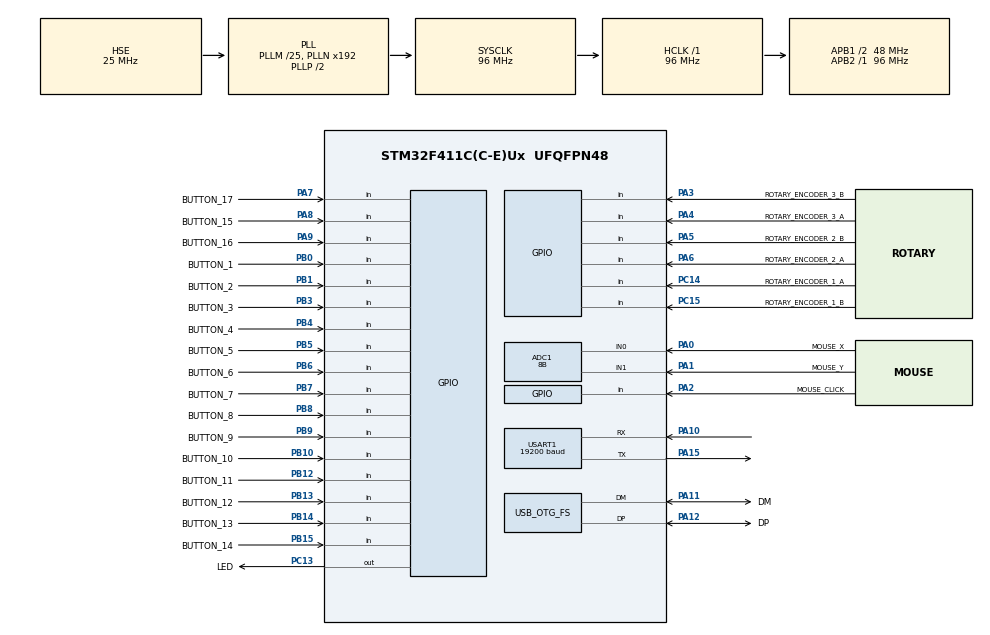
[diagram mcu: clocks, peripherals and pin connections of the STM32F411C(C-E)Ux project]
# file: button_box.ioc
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ADC1.Channel-2\#ChannelRegularConversion=ADC_CHANNEL_0
ADC1.Channel-5\#ChannelRegularConversion=ADC_CHANNEL_1
ADC1.ContinuousConvMode=DISABLE
ADC1.DMAContinuousRequests=DISABLE
ADC1.EOCSelection=ADC_EOC_SEQ_CONV
ADC1.InjNumberOfConversion=0
ADC1.NbrOfConversion=2
ADC1.NbrOfConversionFlag=1
ADC1.Rank-2\#ChannelRegularConversion=1
ADC1.Rank-5\#ChannelRegularConversion=2
ADC1.Resolution=ADC_RESOLUTION_8B
ADC1.SamplingTime-2\#ChannelRegularConversion=ADC_SAMPLETIME_3CYCLES
ADC1.SamplingTime-5\#ChannelRegularConversion=ADC_SAMPLETIME_3CYCLES
ADC1.master=1
Dma.ADC1.0.Direction=DMA_PERIPH_TO_MEMORY
Dma.ADC1.0.FIFOMode=DMA_FIFOMODE_DISABLE
Dma.ADC1.0.Instance=DMA2_Stream0
Dma.ADC1.0.MemDataAlignment=DMA_MDATAALIGN_WORD
Dma.ADC1.0.MemInc=DMA_MINC_ENABLE
Dma.ADC1.0.Mode=DMA_CIRCULAR
Dma.ADC1.0.PeriphDataAlignment=DMA_PDATAALIGN_WORD
Dma.ADC1.0.PeriphInc=DMA_PINC_DISABLE
Dma.ADC1.0.Priority=DMA_PRIORITY_LOW
Dma.Request0=ADC1
Mcu.Family=STM32F4
Mcu.Name=STM32F411C(C-E)Ux
Mcu.Package=UFQFPN48
NVIC.DMA2_Stream0_IRQn=true\:0\:0\:false\:false\:true\:false\:true\:true
NVIC.OTG_FS_IRQn=true\:0\:0\:false\:false\:true\:false\:true\:true
NVIC.PriorityGroup=NVIC_PRIORITYGROUP_4
NVIC.TIM1_UP_TIM10_IRQn=true\:1\:0\:true\:false\:true\:true\:true\:true
NVIC.USART1_IRQn=true\:0\:0\:false\:false\:true\:true\:true\:true
PA0-WKUP.GPIO_Label=MOUSE_X
PA0-WKUP.Signal=ADCx_IN0
PA1.GPIO_Label=MOUSE_Y
PA1.Signal=ADCx_IN1
PA10.Mode=Asynchronous
PA10.Signal=USART1_RX
PA11.GPIO_Label=DM
PA11.Mode=Device_Only
PA11.Signal=USB_OTG_FS_DM
PA12.GPIO_Label=DP
PA12.Mode=Device_Only
PA12.Signal=USB_OTG_FS_DP
PA13.GPIO_Label=SWDIO
PA13.Mode=Serial_Wire
PA13.Signal=SYS_JTMS-SWDIO
PA14.GPIO_Label=SWCLK
PA14.Mode=Serial_Wire
PA14.Signal=SYS_JTCK-SWCLK
PA15.Mode=Asynchronous
PA15.Signal=USART1_TX
PA2.GPIO_Label=MOUSE_CLICK
PA2.GPIO_PuPd=GPIO_PULLUP
PA2.Signal=GPIO_Input
PA3.GPIO_Label=ROTARY_ENCODER_3_B
PA3.GPIO_PuPd=GPIO_PULLUP
PA3.Signal=GPIO_Input
PA4.GPIO_Label=ROTARY_ENCODER_3_A
PA4.GPIO_PuPd=GPIO_PULLUP
PA4.Signal=GPIO_Input
PA5.GPIO_Label=ROTARY_ENCODER_2_B
PA5.GPIO_PuPd=GPIO_PULLUP
PA5.Signal=GPIO_Input
PA6.GPIO_Label=ROTARY_ENCODER_2_A
PA6.GPIO_PuPd=GPIO_PULLUP
PA6.Signal=GPIO_Input
PA7.GPIO_Label=BUTTON_17
PA7.GPIO_PuPd=GPIO_PULLUP
PA7.Signal=GPIO_Input
PA8.GPIO_Label=BUTTON_15
PA8.GPIO_PuPd=GPIO_PULLUP
PA8.Signal=GPIO_Input
PA9.GPIO_Label=BUTTON_16
PA9.GPIO_PuPd=GPIO_PULLUP
PA9.Signal=GPIO_Input
PB0.GPIO_Label=BUTTON_1
PB0.GPIO_PuPd=GPIO_PULLUP
PB0.Signal=GPIO_Input
PB1.GPIO_Label=BUTTON_2
PB1.GPIO_PuPd=GPIO_PULLUP
PB1.Signal=GPIO_Input
PB10.GPIO_Label=BUTTON_10
PB10.GPIO_PuPd=GPIO_PULLUP
PB10.Signal=GPIO_Input
PB12.GPIO_Label=BUTTON_11
PB12.GPIO_PuPd=GPIO_PULLUP
PB12.Signal=GPIO_Input
PB13.GPIO_Label=BUTTON_12
PB13.GPIO_PuPd=GPIO_PULLUP
PB13.Signal=GPIO_Input
PB14.GPIO_Label=BUTTON_13
PB14.GPIO_PuPd=GPIO_PULLUP
PB14.Signal=GPIO_Input
PB15.GPIO_Label=BUTTON_14
PB15.GPIO_PuPd=GPIO_PULLUP
PB15.Signal=GPIO_Input
PB3.GPIO_Label=BUTTON_3
PB3.GPIO_PuPd=GPIO_PULLUP
PB3.Signal=GPIO_Input
PB4.GPIO_Label=BUTTON_4
PB4.GPIO_PuPd=GPIO_PULLUP
PB4.Signal=GPIO_Input
PB5.GPIO_Label=BUTTON_5
PB5.GPIO_PuPd=GPIO_PULLUP
PB5.Signal=GPIO_Input
PB6.GPIO_Label=BUTTON_6
PB6.GPIO_PuPd=GPIO_PULLUP
PB6.Signal=GPIO_Input
PB7.GPIO_Label=BUTTON_7
PB7.GPIO_PuPd=GPIO_PULLUP
PB7.Signal=GPIO_Input
PB8.GPIO_Label=BUTTON_8
PB8.GPIO_PuPd=GPIO_PULLUP
PB8.Signal=GPIO_Input
PB9.GPIO_Label=BUTTON_9
PB9.GPIO_PuPd=GPIO_PULLUP
PB9.Signal=GPIO_Input
PC13-ANTI_TAMP.GPIO_Label=LED
PC13-ANTI_TAMP.Signal=GPIO_Output
PC14-OSC32_IN.GPIO_Label=ROTARY_ENCODER_1_A
PC14-OSC32_IN.GPIO_PuPd=GPIO_PULLUP
PC14-OSC32_IN.Signal=GPIO_Input
PC15-OSC32_OUT.GPIO_Label=ROTARY_ENCODER_1_B
PC15-OSC32_OUT.GPIO_PuPd=GPIO_PULLUP
PC15-OSC32_OUT.Signal=GPIO_Input
PH0\ -\ OSC_IN.Mode=HSE-External-Oscillator
PH0\ -\ OSC_IN.Signal=RCC_OSC_IN
PH1\ -\ OSC_OUT.Mode=HSE-External-Oscillator
PH1\ -\ OSC_OUT.Signal=RCC_OSC_OUT
ProjectManager.HeapSize=0x200
ProjectManager.StackSize=0x400
ProjectManager.TargetToolchain=Makefile
RCC.48MHZClocksFreq_Value=48000000
RCC.AHBFreq_Value=96000000
RCC.APB1CLKDivider=RCC_HCLK_DIV2
RCC.APB1Freq_Value=48000000
RCC.APB1TimFreq_Value=96000000
RCC.APB2Freq_Value=96000000
RCC.APB2TimFreq_Value=96000000
RCC.CortexFreq_Value=96000000
RCC.HCLKFreq_Value=96000000
RCC.HSE_VALUE=25000000
RCC.HSI_VALUE=16000000
RCC.LSE_VALUE=32768
RCC.PLLM=25
RCC.SYSCLKFreq_VALUE=96000000
RCC.SYSCLKSource=RCC_SYSCLKSOURCE_PLLCLK
RCC.VCOOutputFreq_Value=192000000
SH.ADCx_IN0.0=ADC1_IN0,IN0
SH.ADCx_IN1.0=ADC1_IN1,IN1
TIM1.AutoReloadPreload=TIM_AUTORELOAD_PRELOAD_DISABLE
TIM1.Period=999
TIM1.Prescaler=95
USART1.BaudRate=19200
USART1.Mode=MODE_RX
USART1.VirtualMode=VM_ASYNC
USB_DEVICE.CLASS_NAME_FS=HID
USB_DEVICE.MANUFACTURER_STRING=STTKS
USB_DEVICE.PRODUCT_STRING_HID_FS=Button Box
USB_DEVICE.VirtualMode=Hid
USB_DEVICE.VirtualModeFS=Hid_FS
USB_OTG_FS.VirtualMode=Device_Only
VP_TIM1_VS_ClockSourceINT.Mode=Internal
VP_USB_DEVICE_VS_USB_DEVICE_HID_FS.Mode=HID_FS
board=custom

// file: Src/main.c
/* USER CODE BEGIN Header */
/**
  ******************************************************************************
  * @file           : main.c
  * @brief          : Main program body
  ******************************************************************************
  * @attention
  *
  * Copyright (c) 2024 STMicroelectronics.
  * All rights reserved.
  *
  * This software is licensed under terms that can be found in the LICENSE file
  * in the root directory of this software component.
  * If no LICENSE file comes with this software, it is provided AS-IS.
  *
  ******************************************************************************
  */
/* USER CODE END Header */
#include "main.h"
#include "usb_device.h"

/* USER CODE BEGIN Includes */
#include "usbd_hid.h"

/* USER CODE END Includes */

ADC_HandleTypeDef hadc1;
DMA_HandleTypeDef hdma_adc1;

TIM_HandleTypeDef htim1;

UART_HandleTypeDef huart1;

void SystemClock_Config(void);
static void MX_GPIO_Init(void);
static void MX_DMA_Init(void);
static void MX_ADC1_Init(void);
static void MX_TIM1_Init(void);
static void MX_USART1_UART_Init(void);
/* USER CODE BEGIN PFP */

void GPIO_PinState_to_bit(uint64_t* bitfield, uint8_t bit_index, GPIO_PinState pin_state);
void Compute_Rotary_Encoder_State(Rotary_Encoder_TypeDef* rotary_encoder);
uint16_t Compute_UART_CRC(const uint8_t* buffer, uint8_t length);
uint16_t Accumulate_UART_CRC(uint16_t accumulation, uint8_t byte);

/* USER CODE END PFP */

/* USER CODE BEGIN 0 */

uint8_t new_ADC_data = 0;

GPIO_PinState GPIO_pin_state_debounced[NUMBER_OF_GPIOS] = {0};

uint8_t rx_buffer = 0;

uint8_t UART_buttons[5] = {0};

/* USER CODE END 0 */

int main(void)
{

  /* MCU Configuration--------------------------------------------------------*/

  /* Reset of all peripherals, Initializes the Flash interface and the Systick. */
  HAL_Init();

  /* Configure the system clock */
  SystemClock_Config();

  /* Initialize all configured peripherals */
  MX_GPIO_Init();
  MX_DMA_Init();
  MX_ADC1_Init();
  MX_USB_DEVICE_Init();
  MX_TIM1_Init();
  MX_USART1_UART_Init();
  /* USER CODE BEGIN 2 */

  Mouse_HID_TypeDef mouse_HID = {0};
  mouse_HID.report_id = 1;

  Joystick_HID_TypeDef joystick_HID = {0};
  joystick_HID.report_id = 2;

  uint8_t  previous_mouse_buttons    = 0;
  uint64_t previous_joystick_buttons = 0;

  Rotary_Encoder_TypeDef rotary_encoders[NUMBER_OF_ROTARY_ENCODERS];

  for (int i =0; i < NUMBER_OF_ROTARY_ENCODERS; i++)
  {
    rotary_encoders[i].state      = Idle;
    rotary_encoders[i].A          = GPIO_PIN_SET;
    rotary_encoders[i].B          = GPIO_PIN_SET;
    rotary_encoders[i].previous_A = GPIO_PIN_SET;
    rotary_encoders[i].previous_B = GPIO_PIN_SET;
  }

  uint32_t ADC_DMA_buffer[2] = {0};

  HAL_ADC_Start_DMA(&hadc1, ADC_DMA_buffer, 2);

  HAL_TIM_Base_Start_IT(&htim1);

  HAL_UART_Receive_IT(&huart1, &rx_buffer, 1);

  /* USER CODE END 2 */

  /* Infinite loop */
  while (1)
  {

    /* USER CODE BEGIN 3 */

    /* Handle mouse ------------------------------------------------------------------------------*/
    if (new_ADC_data == 1)
    {
      new_ADC_data = 0;

      if (ADC_DMA_buffer[0] > MOUSE_X_CENTER_HIGH || ADC_DMA_buffer[0] < MOUSE_X_CENTER_LOW)
      {
        mouse_HID.x = (int8_t)(MIN (ADC_DMA_buffer[0], 254) - 127) / -8;
      }
      else
      {
        mouse_HID.x = 0;
      }

      if (ADC_DMA_buffer[1] > MOUSE_Y_CENTER_HIGH || ADC_DMA_buffer[1] < MOUSE_Y_CENTER_LOW)
      {
        mouse_HID.y = (MIN (ADC_DMA_buffer[1], 254) - 127) / 8;
      }
      else
      {
        mouse_HID.y = 0;
      }

      HAL_ADC_Start_DMA(&hadc1, ADC_DMA_buffer, 2);
    }

    if (HAL_GPIO_ReadPin(MOUSE_CLICK_GPIO_Port, MOUSE_CLICK_Pin) == GPIO_PIN_RESET)
    {
      mouse_HID.buttons = 1;
    }
    else
    {
      mouse_HID.buttons = 0;
    }

    if (mouse_HID.buttons != previous_mouse_buttons || mouse_HID.x != 0 || mouse_HID.y != 0)
    {
      USBD_HID_SendReport(&hUsbDeviceFS, (uint8_t*)&mouse_HID, sizeof(Mouse_HID_TypeDef));
      HAL_Delay(20);
    }

    previous_mouse_buttons = mouse_HID.buttons;

    /* Handle joystick ---------------------------------------------------------------------------*/
    // Compute standard buttons state
    for (int i = 0; i < NUMBER_OF_BUTTONS; i++)
    {
      GPIO_PinState_to_bit(&joystick_HID.buttons, i, GPIO_pin_state_debounced[i]);
    }

    // Compute rotary encoders state
    for (int i =0; i < NUMBER_OF_ROTARY_ENCODERS; i++)
    {
      uint8_t A_index = NUMBER_OF_BUTTONS + (i * 2);
      uint8_t B_index = NUMBER_OF_BUTTONS + (i * 2) + 1;

      rotary_encoders[i].A = GPIO_pin_state_debounced[A_index];
      rotary_encoders[i].B = GPIO_pin_state_debounced[B_index];

      Compute_Rotary_Encoder_State(&rotary_encoders[i]);

      if (rotary_encoders[i].state == Clockwise)
      {
        GPIO_PinState_to_bit(&joystick_HID.buttons, A_index, GPIO_PIN_RESET);
        GPIO_PinState_to_bit(&joystick_HID.buttons, B_index, GPIO_PIN_SET);
      }
      else if (rotary_encoders[i].state == Counterclockwise)
      {
        GPIO_PinState_to_bit(&joystick_HID.buttons, A_index, GPIO_PIN_SET);
        GPIO_PinState_to_bit(&joystick_HID.buttons, B_index, GPIO_PIN_RESET);
      }
      else
      {
        GPIO_PinState_to_bit(&joystick_HID.buttons, A_index, GPIO_PIN_SET);
        GPIO_PinState_to_bit(&joystick_HID.buttons, B_index, GPIO_PIN_SET);
      }

      rotary_encoders[i].previous_A = rotary_encoders[i].A;
      rotary_encoders[i].previous_B = rotary_encoders[i].B;
    }

    // Compute UART buttons state
    for (int i = 0; i < 5; i++)
    {
      joystick_HID.buttons &= ~(0xFF << (NUMBER_OF_GPIOS + (i * 8)));
      joystick_HID.buttons |= ((uint64_t)(UART_buttons[i]) << (NUMBER_OF_GPIOS + (i * 8)));
    }

    if (joystick_HID.buttons != previous_joystick_buttons)
    {
      USBD_HID_SendReport(&hUsbDeviceFS, (uint8_t*)&joystick_HID, sizeof(Joystick_HID_TypeDef));
      HAL_Delay(20);
    }

    previous_joystick_buttons = joystick_HID.buttons;
  }
  /* USER CODE END 3 */
}

void SystemClock_Config(void)
{
  RCC_OscInitTypeDef RCC_OscInitStruct = {0};
  RCC_ClkInitTypeDef RCC_ClkInitStruct = {0};

  /** Configure the main internal regulator output voltage
  */
  __HAL_RCC_PWR_CLK_ENABLE();
  __HAL_PWR_VOLTAGESCALING_CONFIG(PWR_REGULATOR_VOLTAGE_SCALE1);

  /** Initializes the RCC Oscillators according to the specified parameters
  * in the RCC_OscInitTypeDef structure.
  */
  RCC_OscInitStruct.OscillatorType = RCC_OSCILLATORTYPE_HSE;
  RCC_OscInitStruct.HSEState = RCC_HSE_ON;
  RCC_OscInitStruct.PLL.PLLState = RCC_PLL_ON;
  RCC_OscInitStruct.PLL.PLLSource = RCC_PLLSOURCE_HSE;
  RCC_OscInitStruct.PLL.PLLM = 25;
  RCC_OscInitStruct.PLL.PLLN = 192;
  RCC_OscInitStruct.PLL.PLLP = RCC_PLLP_DIV2;
  RCC_OscInitStruct.PLL.PLLQ = 4;
  if (HAL_RCC_OscConfig(&RCC_OscInitStruct) != HAL_OK)
  {
    Error_Handler();
  }

  /** Initializes the CPU, AHB and APB buses clocks
  */
  RCC_ClkInitStruct.ClockType = RCC_CLOCKTYPE_HCLK|RCC_CLOCKTYPE_SYSCLK
                              |RCC_CLOCKTYPE_PCLK1|RCC_CLOCKTYPE_PCLK2;
  RCC_ClkInitStruct.SYSCLKSource = RCC_SYSCLKSOURCE_PLLCLK;
  RCC_ClkInitStruct.AHBCLKDivider = RCC_SYSCLK_DIV1;
  RCC_ClkInitStruct.APB1CLKDivider = RCC_HCLK_DIV2;
  RCC_ClkInitStruct.APB2CLKDivider = RCC_HCLK_DIV1;

  if (HAL_RCC_ClockConfig(&RCC_ClkInitStruct, FLASH_LATENCY_3) != HAL_OK)
  {
    Error_Handler();
  }
}

static void MX_ADC1_Init(void)
{

  ADC_ChannelConfTypeDef sConfig = {0};

  /** Configure the global features of the ADC (Clock, Resolution, Data Alignment and number of conversion)
  */
  hadc1.Instance = ADC1;
  hadc1.Init.ClockPrescaler = ADC_CLOCK_SYNC_PCLK_DIV4;
  hadc1.Init.Resolution = ADC_RESOLUTION_8B;
  hadc1.Init.ScanConvMode = ENABLE;
  hadc1.Init.ContinuousConvMode = DISABLE;
  hadc1.Init.DiscontinuousConvMode = DISABLE;
  hadc1.Init.ExternalTrigConvEdge = ADC_EXTERNALTRIGCONVEDGE_NONE;
  hadc1.Init.ExternalTrigConv = ADC_SOFTWARE_START;
  hadc1.Init.DataAlign = ADC_DATAALIGN_RIGHT;
  hadc1.Init.NbrOfConversion = 2;
  hadc1.Init.DMAContinuousRequests = DISABLE;
  hadc1.Init.EOCSelection = ADC_EOC_SEQ_CONV;
  if (HAL_ADC_Init(&hadc1) != HAL_OK)
  {
    Error_Handler();
  }

  /** Configure for the selected ADC regular channel its corresponding rank in the sequencer and its sample time.
  */
  sConfig.Channel = ADC_CHANNEL_0;
  sConfig.Rank = 1;
  sConfig.SamplingTime = ADC_SAMPLETIME_3CYCLES;
  if (HAL_ADC_ConfigChannel(&hadc1, &sConfig) != HAL_OK)
  {
    Error_Handler();
  }

  /** Configure for the selected ADC regular channel its corresponding rank in the sequencer and its sample time.
  */
  sConfig.Channel = ADC_CHANNEL_1;
  sConfig.Rank = 2;
  if (HAL_ADC_ConfigChannel(&hadc1, &sConfig) != HAL_OK)
  {
    Error_Handler();
  }

}

static void MX_TIM1_Init(void)
{

  TIM_ClockConfigTypeDef sClockSourceConfig = {0};
  TIM_MasterConfigTypeDef sMasterConfig = {0};

  htim1.Instance = TIM1;
  htim1.Init.Prescaler = 95;
  htim1.Init.CounterMode = TIM_COUNTERMODE_UP;
  htim1.Init.Period = 999;
  htim1.Init.ClockDivision = TIM_CLOCKDIVISION_DIV1;
  htim1.Init.RepetitionCounter = 0;
  htim1.Init.AutoReloadPreload = TIM_AUTORELOAD_PRELOAD_DISABLE;
  if (HAL_TIM_Base_Init(&htim1) != HAL_OK)
  {
    Error_Handler();
  }
  sClockSourceConfig.ClockSource = TIM_CLOCKSOURCE_INTERNAL;
  if (HAL_TIM_ConfigClockSource(&htim1, &sClockSourceConfig) != HAL_OK)
  {
    Error_Handler();
  }
  sMasterConfig.MasterOutputTrigger = TIM_TRGO_RESET;
  sMasterConfig.MasterSlaveMode = TIM_MASTERSLAVEMODE_DISABLE;
  if (HAL_TIMEx_MasterConfigSynchronization(&htim1, &sMasterConfig) != HAL_OK)
  {
    Error_Handler();
  }

}

static void MX_USART1_UART_Init(void)
{

  huart1.Instance = USART1;
  huart1.Init.BaudRate = 19200;
  huart1.Init.WordLength = UART_WORDLENGTH_8B;
  huart1.Init.StopBits = UART_STOPBITS_1;
  huart1.Init.Parity = UART_PARITY_NONE;
  huart1.Init.Mode = UART_MODE_RX;
  huart1.Init.HwFlowCtl = UART_HWCONTROL_NONE;
  huart1.Init.OverSampling = UART_OVERSAMPLING_16;
  if (HAL_UART_Init(&huart1) != HAL_OK)
  {
    Error_Handler();
  }

}

static void MX_DMA_Init(void)
{

  /* DMA controller clock enable */
  __HAL_RCC_DMA2_CLK_ENABLE();

  /* DMA interrupt init */
  /* DMA2_Stream0_IRQn interrupt configuration */
  HAL_NVIC_SetPriority(DMA2_Stream0_IRQn, 0, 0);
  HAL_NVIC_EnableIRQ(DMA2_Stream0_IRQn);

}

static void MX_GPIO_Init(void)
{
  GPIO_InitTypeDef GPIO_InitStruct = {0};

  /* GPIO Ports Clock Enable */
  __HAL_RCC_GPIOC_CLK_ENABLE();
  __HAL_RCC_GPIOH_CLK_ENABLE();
  __HAL_RCC_GPIOA_CLK_ENABLE();
  __HAL_RCC_GPIOB_CLK_ENABLE();

  /*Configure GPIO pin Output Level */
  HAL_GPIO_WritePin(LED_GPIO_Port, LED_Pin, GPIO_PIN_RESET);

  /*Configure GPIO pin : LED_Pin */
  GPIO_InitStruct.Pin = LED_Pin;
  GPIO_InitStruct.Mode = GPIO_MODE_OUTPUT_PP;
  GPIO_InitStruct.Pull = GPIO_NOPULL;
  GPIO_InitStruct.Speed = GPIO_SPEED_FREQ_LOW;
  HAL_GPIO_Init(LED_GPIO_Port, &GPIO_InitStruct);

  /*Configure GPIO pins : ROTARY_ENCODER_1_A_Pin ROTARY_ENCODER_1_B_Pin */
  GPIO_InitStruct.Pin = ROTARY_ENCODER_1_A_Pin|ROTARY_ENCODER_1_B_Pin;
  GPIO_InitStruct.Mode = GPIO_MODE_INPUT;
  GPIO_InitStruct.Pull = GPIO_PULLUP;
  HAL_GPIO_Init(GPIOC, &GPIO_InitStruct);

  /*Configure GPIO pins : MOUSE_CLICK_Pin ROTARY_ENCODER_3_B_Pin ROTARY_ENCODER_3_A_Pin ROTARY_ENCODER_2_B_Pin
                           ROTARY_ENCODER_2_A_Pin BUTTON_17_Pin BUTTON_15_Pin BUTTON_16_Pin */
  GPIO_InitStruct.Pin = MOUSE_CLICK_Pin|ROTARY_ENCODER_3_B_Pin|ROTARY_ENCODER_3_A_Pin|ROTARY_ENCODER_2_B_Pin
                          |ROTARY_ENCODER_2_A_Pin|BUTTON_17_Pin|BUTTON_15_Pin|BUTTON_16_Pin;
  GPIO_InitStruct.Mode = GPIO_MODE_INPUT;
  GPIO_InitStruct.Pull = GPIO_PULLUP;
  HAL_GPIO_Init(GPIOA, &GPIO_InitStruct);

  /*Configure GPIO pins : BUTTON_1_Pin BUTTON_2_Pin BUTTON_10_Pin BUTTON_11_Pin
                           BUTTON_12_Pin BUTTON_13_Pin BUTTON_14_Pin BUTTON_3_Pin
                           BUTTON_4_Pin BUTTON_5_Pin BUTTON_6_Pin BUTTON_7_Pin
                           BUTTON_8_Pin BUTTON_9_Pin */
  GPIO_InitStruct.Pin = BUTTON_1_Pin|BUTTON_2_Pin|BUTTON_10_Pin|BUTTON_11_Pin
                          |BUTTON_12_Pin|BUTTON_13_Pin|BUTTON_14_Pin|BUTTON_3_Pin
                          |BUTTON_4_Pin|BUTTON_5_Pin|BUTTON_6_Pin|BUTTON_7_Pin
                          |BUTTON_8_Pin|BUTTON_9_Pin;
  GPIO_InitStruct.Mode = GPIO_MODE_INPUT;
  GPIO_InitStruct.Pull = GPIO_PULLUP;
  HAL_GPIO_Init(GPIOB, &GPIO_InitStruct);

}

/* USER CODE BEGIN 4 */

void GPIO_PinState_to_bit(uint64_t* bitfield, uint8_t bit_index, GPIO_PinState pin_state)
{
  if (pin_state == GPIO_PIN_SET)
  {
    *bitfield &= ~(1 << bit_index);
  }
  else
  {
    *bitfield |= (1 << bit_index);
  }
}

void Compute_Rotary_Encoder_State(Rotary_Encoder_TypeDef* rotary_encoder)
{
  if (rotary_encoder->A == GPIO_PIN_RESET
      && rotary_encoder->A != rotary_encoder->previous_A
      && rotary_encoder->B == GPIO_PIN_SET)
  {
    rotary_encoder->state = Clockwise;
  }
  else if (rotary_encoder->B == GPIO_PIN_RESET
      && rotary_encoder->B != rotary_encoder->previous_B
      && rotary_encoder->A == GPIO_PIN_SET)
  {
    rotary_encoder->state = Counterclockwise;
  }
  else if ((rotary_encoder->B == GPIO_PIN_SET
            && rotary_encoder->B != rotary_encoder->previous_B
            && rotary_encoder->A == GPIO_PIN_SET)
            || (rotary_encoder->A == GPIO_PIN_SET
            && rotary_encoder->A != rotary_encoder->previous_A
            && rotary_encoder->B == GPIO_PIN_SET))
  {
    rotary_encoder->state = Idle;
  }
}

void HAL_ADC_ConvCpltCallback(ADC_HandleTypeDef* hadc)
{
    new_ADC_data = 1;
}

uint16_t Compute_UART_CRC(const uint8_t* buffer, uint8_t length)
{
  // MCRF4XX 16 bits CRC with 0xFFFF init value
  uint16_t accumulation = 0xFFFF;

  for (int i = 0; i < length; i++)
  {
    accumulation = Accumulate_UART_CRC(accumulation, buffer[i]);
  }

  return accumulation;
}

uint16_t Accumulate_UART_CRC(uint16_t accumulation, uint8_t byte)
{
  const uint16_t accumulation_LSB = accumulation & 0x00FF;
  const uint16_t accumulation_MSB = accumulation >> 8;
  uint16_t tmp = (uint16_t)(byte) ^ accumulation_LSB;

  tmp ^= (tmp << 4) & 0x00FF;
  return accumulation_MSB ^ (tmp << 8) ^ (tmp << 3) ^ (tmp >> 4);
}

void HAL_TIM_PeriodElapsedCallback(TIM_HandleTypeDef* htim)
{
  static GPIO_TypeDef* const GPIO_port[NUMBER_OF_GPIOS] =
   {BUTTON_1_GPIO_Port,
    BUTTON_2_GPIO_Port,
    BUTTON_3_GPIO_Port,
    BUTTON_4_GPIO_Port,
    BUTTON_5_GPIO_Port,
    BUTTON_6_GPIO_Port,
    BUTTON_7_GPIO_Port,
    BUTTON_8_GPIO_Port,
    BUTTON_9_GPIO_Port,
    BUTTON_10_GPIO_Port,
    BUTTON_11_GPIO_Port,
    BUTTON_12_GPIO_Port,
    BUTTON_13_GPIO_Port,
    BUTTON_14_GPIO_Port,
    BUTTON_15_GPIO_Port,
    BUTTON_16_GPIO_Port,
    BUTTON_17_GPIO_Port,
    ROTARY_ENCODER_1_A_GPIO_Port,
    ROTARY_ENCODER_1_B_GPIO_Port,
    ROTARY_ENCODER_2_A_GPIO_Port,
    ROTARY_ENCODER_2_B_GPIO_Port,
    ROTARY_ENCODER_3_A_GPIO_Port,
    ROTARY_ENCODER_3_B_GPIO_Port};

  static const uint16_t GPIO_pin[NUMBER_OF_GPIOS] =
   {BUTTON_1_Pin,
    BUTTON_2_Pin,
    BUTTON_3_Pin,
    BUTTON_4_Pin,
    BUTTON_5_Pin,
    BUTTON_6_Pin,
    BUTTON_7_Pin,
    BUTTON_8_Pin,
    BUTTON_9_Pin,
    BUTTON_10_Pin,
    BUTTON_11_Pin,
    BUTTON_12_Pin,
    BUTTON_13_Pin,
    BUTTON_14_Pin,
    BUTTON_15_Pin,
    BUTTON_16_Pin,
    BUTTON_17_Pin,
    ROTARY_ENCODER_1_A_Pin,
    ROTARY_ENCODER_1_B_Pin,
    ROTARY_ENCODER_2_A_Pin,
    ROTARY_ENCODER_2_B_Pin,
    ROTARY_ENCODER_3_A_Pin,
    ROTARY_ENCODER_3_B_Pin};

  static GPIO_PinState previous_pin_state[NUMBER_OF_GPIOS] = {0};

  static uint8_t nb_cycles_stable[NUMBER_OF_GPIOS] = {0};

  for (int i = 0; i < NUMBER_OF_GPIOS; i++)
  {
    GPIO_PinState pin_state = HAL_GPIO_ReadPin(GPIO_port[i], GPIO_pin[i]);

    if (previous_pin_state[i] == pin_state)
    {
      nb_cycles_stable[i]++;
    }
    else
    {
      previous_pin_state[i] = pin_state;
      nb_cycles_stable[i]   = 0;
    }

    if (nb_cycles_stable[i] >= GPIO_DEBOUNCE_CYCLES)
    {
      GPIO_pin_state_debounced[i] = pin_state;
    }
  }

  // Heartbeat LED at 1Hz
  static uint16_t LED_counter = 0;

  if (LED_counter > 500)
  {
    HAL_GPIO_TogglePin(LED_GPIO_Port, LED_Pin);
    LED_counter = 0;
  }
  else
  {
    LED_counter++;
  }
}

void HAL_UART_RxCpltCallback(UART_HandleTypeDef *huart)
{
  static uint8_t buffer[9] = {0};
  static uint8_t buffer_index = 0;

  switch (buffer_index)
  {
    case 0:
      if (rx_buffer == 0xA5)
      {
        buffer[buffer_index] = rx_buffer;
        buffer_index++;
      }
      break;

    case 8:
      buffer[buffer_index] = rx_buffer;
      buffer_index = 0;

      uint16_t UART_CRC = Compute_UART_CRC(buffer, sizeof(buffer) - 2);
      if ((uint8_t)(UART_CRC & 0x00FF) == buffer[7] && (uint8_t)(UART_CRC >> 8) == buffer[8])
      {
        for (int i = 0; i < 5; i++)
        {
          UART_buttons[i] = buffer[i + 2];
        }
      }
      break;

    default:
      buffer[buffer_index] = rx_buffer;
      buffer_index++;
      break;
  }

  HAL_UART_Receive_IT(&huart1, &rx_buffer, 1);
}

/* USER CODE END 4 */

void Error_Handler(void)
{
  __disable_irq();
  while (1)
  {
  }
}
